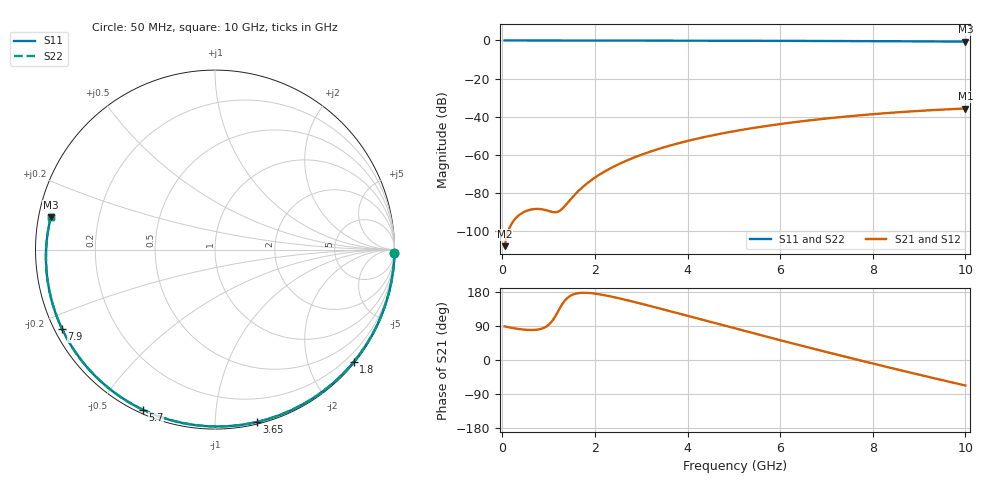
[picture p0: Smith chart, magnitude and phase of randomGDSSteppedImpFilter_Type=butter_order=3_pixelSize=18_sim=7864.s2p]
! freq	dB(S11)	phase(S11)	dB(S12)	phase(S12)
!  dB(S21)	phase(S21)	dB(S22)	phase(S22)
!S-par simulation data
#  GHz  S  DB  R 50
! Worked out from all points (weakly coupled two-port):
!   200 points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, 50 MHz to 10 GHz, reference 50 ohm
!   highest |S21| = -35.73 dB at 10 GHz (marker M1); lowest = -108.0 dB at 50 MHz (marker M2)
!   lowest |S11| = -0.6 dB at 10 GHz (marker M3), VSWR 28.65, Z = 1.76 + j4.87 ohm
!   |S11| at or under -10 dB: nowhere
!   |S22| runs from -0.6 to 0.0 dB; largest |S21 - S12| = 0
!   S11 on the Smith chart (normalised r, x): 50 MHz: open; 1.8 GHz: 0.03, -2.83; 3.65 GHz: 0.02, -1.27; 5.7 GHz: 0.02, -0.65; 7.9 GHz: 0.02, -0.24; 10 GHz: 0.04, +0.10
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0.05  -0.00 -1.1  -108.02 88.6  -108.02 88.6  -0.00 -1.1
0.4  -0.01 -8.8  -91.07 81.1  -91.07 81.1  -0.01 -8.8
0.8  -0.02 -17.6  -88.49 81.1  -88.49 81.1  -0.02 -17.6
1.2  -0.03 -26.2  -89.97 127.2  -89.97 127.2  -0.03 -26.2
1.6  -0.04 -34.8  -80.11 175.5  -80.11 175.5  -0.04 -34.8
1.75  -0.05 -37.9  -76.68 177.4  -76.68 177.4  -0.05 -37.9
1.8  -0.05 -39.0  -75.66 177.4  -75.66 177.4  -0.05 -39.0
2.1  -0.06 -45.3  -70.43 173.3  -70.43 173.3  -0.06 -45.3
2.45  -0.07 -52.5  -65.71 164.8  -65.71 164.8  -0.07 -52.5
2.9  -0.08 -61.6  -60.95 151.6  -60.95 151.6  -0.08 -61.6
3.4  -0.09 -71.5  -56.77 135.9  -56.77 135.9  -0.09 -71.5
3.65  -0.10 -76.4  -54.99 127.9  -54.99 127.9  -0.10 -76.4
4.35  -0.13 -89.7  -50.79 105.2  -50.79 105.2  -0.13 -89.7
5.05  -0.16 -102.6  -47.46 82.5  -47.46 82.5  -0.16 -102.6
5.7  -0.19 -114.2  -44.91 61.7  -44.91 61.7  -0.19 -114.2
6.2  -0.22 -123.0  -43.24 45.9  -43.24 45.9  -0.22 -123.0
6.7  -0.26 -131.7  -41.77 30.3  -41.77 30.3  -0.26 -131.7
7.3  -0.30 -142.2  -40.24 11.9  -40.24 11.9  -0.30 -142.2
7.9  -0.36 -152.6  -38.92 -6.3  -38.92 -6.3  -0.36 -152.6
8.35  -0.40 -160.6  -38.05 -19.7  -38.05 -19.7  -0.40 -160.6
9.2  -0.50 -175.9  -36.70 -44.6  -36.70 -44.6  -0.50 -175.9
10  -0.61 168.9  -35.73 -67.3  -35.73 -67.3  -0.61 168.9
